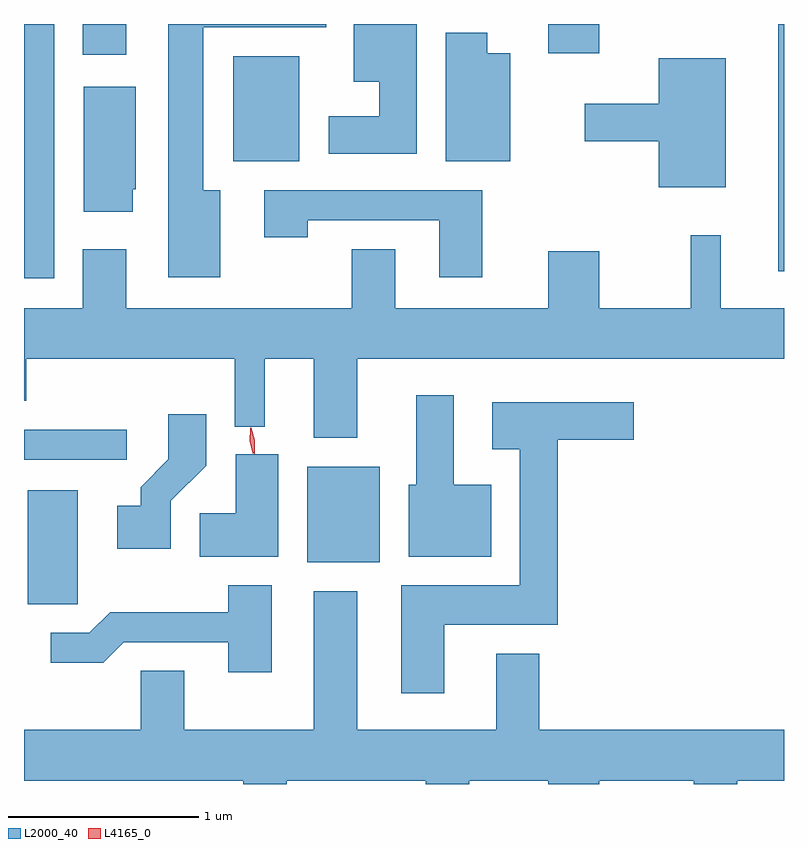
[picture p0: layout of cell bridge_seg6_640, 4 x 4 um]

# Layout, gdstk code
import gdstk
lib = gdstk.Library(unit=1e-6, precision=1e-09)
def R(c, l, rs):  # rectangles x0, y0, x1, y1
    for r in rs: c.add(gdstk.rectangle(r[:2], r[2:], *l))
def P(c, l, *ps):  # polygons
    for p in ps: c.add(gdstk.Polygon(p, *l))
L2000_40 = (2000, 40)
L4165_0 = (4165, 0)

bridge_seg6_640 = lib.new_cell('bridge_seg6_640')
R(bridge_seg6_640, L2000_40, [(212.336,1626.446,212.599,1627.044), (213.806,1626.666,214.189,1627.169), (212.316,1627.206,212.858,1627.364), (212.316,1628.161,212.474,1629.499), (216.286,1628.198,216.316,1629.499), (213.416,1628.776,213.764,1629.329), (212.626,1629.336,212.854,1629.499), (215.076,1629.346,215.344,1629.499)])
P(bridge_seg6_640, L2000_40, [(214.384,1629.499),(214.051,1629.499),(214.051,1629.196),(214.186,1629.196),(214.186,1629.014),(213.921,1629.014),(213.921,1628.816),(214.384,1628.816)],
  [(213.349,1628.624),(213.259,1628.624),(213.259,1629.481),(213.908,1629.481),(213.908,1629.499),(213.076,1629.499),(213.076,1628.166),(213.349,1628.166)],
  [(214.874,1629.344),(214.754,1629.344),(214.754,1629.454),(214.536,1629.454),(214.536,1628.776),(214.874,1628.776)],
  [(216.009,1629.319),(215.656,1629.319),(215.656,1629.079),(215.266,1629.079),(215.266,1628.881),(215.656,1628.881),(215.656,1628.641),(216.009,1628.641)],
  [(212.889,1628.63),(212.904,1628.63),(212.904,1629.169),(212.631,1629.169),(212.631,1628.511),(212.889,1628.511)],
  [(214.729,1628.624),(213.581,1628.624),(213.581,1628.376),(213.809,1628.376),(213.809,1628.466),(214.501,1628.466),(214.501,1628.166),(214.729,1628.166)],
  [(214.069,1627.736),(216.316,1627.736),(216.316,1628.004),(215.984,1628.004),(215.984,1628.388),(215.826,1628.388),(215.826,1628.004),(215.344,1628.004),(215.344,1628.304),(215.076,1628.304),(215.076,1628.004),(214.269,1628.004),(214.269,1628.314),(214.041,1628.314),(214.041,1628.004),(212.854,1628.004),(212.854,1628.314),(212.626,1628.314),(212.626,1628.004),(212.316,1628.004),(212.316,1627.516),(212.329,1627.516),(212.329,1627.736),(213.426,1627.736),(213.426,1627.378),(213.584,1627.378),(213.584,1627.736),(213.841,1627.736),(213.841,1627.321),(214.069,1627.321)],
  [(214.774,1627.074),(214.579,1627.074),(214.579,1627.544),(214.381,1627.544),(214.381,1627.074),(214.341,1627.074),(214.341,1626.696),(214.774,1626.696)],
  [(214.529,1626.336),(215.124,1626.336),(215.124,1627.311),(215.524,1627.311),(215.524,1627.509),(214.781,1627.509),(214.781,1627.261),(214.926,1627.261),(214.926,1626.544),(214.301,1626.544),(214.301,1625.976),(214.529,1625.976)],
  [(213.089,1626.989),(213.274,1627.174),(213.274,1627.444),(213.076,1627.444),(213.076,1627.207),(212.931,1627.062),(212.931,1626.964),(212.806,1626.964),(212.806,1626.736),(213.089,1626.736)],
  [(213.654,1627.234),(213.431,1627.234),(213.431,1626.924),(213.241,1626.924),(213.241,1626.696),(213.654,1626.696)],
  [(213.619,1626.544),(213.391,1626.544),(213.391,1626.404),(212.769,1626.404),(212.659,1626.294),(212.458,1626.294),(212.458,1626.136),(212.732,1626.136),(212.842,1626.246),(213.391,1626.246),(213.391,1626.086),(213.619,1626.086)],
  [(213.699,1625.516),(214.431,1625.516),(214.431,1625.499),(214.659,1625.499),(214.659,1625.516),(215.076,1625.516),(215.076,1625.499),(215.344,1625.499),(215.344,1625.516),(215.841,1625.516),(215.841,1625.499),(216.069,1625.499),(216.069,1625.516),(216.316,1625.516),(216.316,1625.784),(215.029,1625.784),(215.029,1626.184),(214.801,1626.184),(214.801,1625.784),(214.069,1625.784),(214.069,1626.514),(213.841,1626.514),(213.841,1625.784),(213.159,1625.784),(213.159,1626.094),(212.931,1626.094),(212.931,1625.784),(212.316,1625.784),(212.316,1625.516),(213.471,1625.516),(213.471,1625.499),(213.699,1625.499)])
P(bridge_seg6_640, L4165_0, [(213.521,1627.239),(213.521,1627.24),(213.505,1627.304),(213.508,1627.371),(213.508,1627.371),(213.509,1627.371),(213.525,1627.306),(213.522,1627.24)],
  [(213.529,1627.237),(213.529,1627.238),(213.51,1627.305),(213.51,1627.374),(213.511,1627.375),(213.512,1627.374),(213.53,1627.308),(213.53,1627.238)])

lib.write_gds('bridge_seg6_640.gds')
